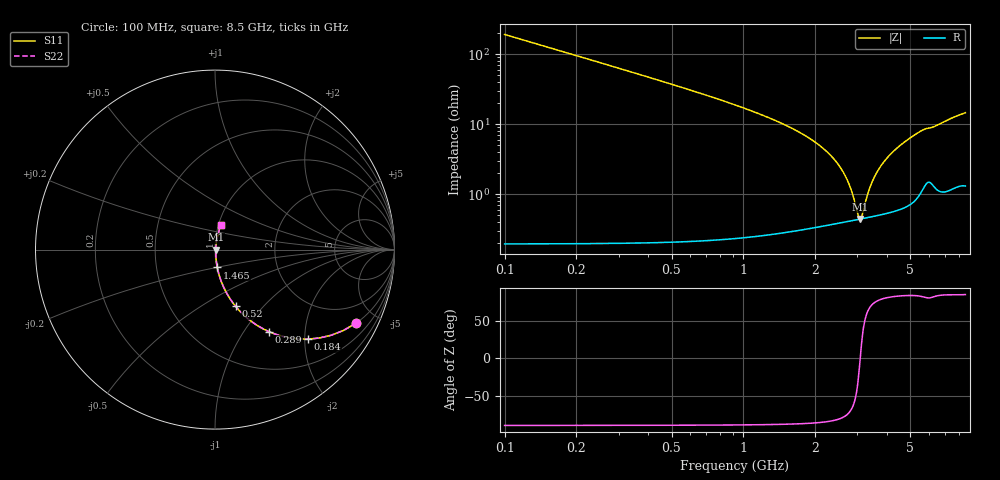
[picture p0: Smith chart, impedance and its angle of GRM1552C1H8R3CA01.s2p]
!Murata Part Number: GRM1552C1H8R3CA01
!These Parameters are Measured in Series Mode Connection
!Data Generated on Mar 30, 2021
!  o--ll--o
!Port1  Port2
!  o------o
!Operation Temp=25[degC], DC Bias Voltage=0[V]
!Freq. Start=100[MHz] Stop=9[GHz] 401[Steps]
# Hz S RI R 50
!Freq.(Hz) S11(Real) S11(Imag) S21(Real) S21(Imag) S12(Real) S12(Imag) S22(Real) S22(Imag)
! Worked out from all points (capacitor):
!   401 points, 100 MHz to 8.5 GHz, reference 50 ohm
!   read as one part in series: C = 8.3 pF near 142 MHz
!   lowest |Z| = 443 mohm at 3.082 GHz (marker M1)
!   series resonance near 3.084 GHz, so ESL is about 320 pH
!   S11 on the Smith chart (normalised r, x): 100 MHz: 1.00, -3.83; 184 MHz: 1.00, -2.08; 289 MHz: 1.00, -1.32; 520 MHz: 1.00, -0.72; 1.465 GHz: 1.01, -0.20; 8.5 GHz: 1.03, +0.29
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1e8  0.7856 -0.4099  0.2144 0.4099  0.2144 0.4099  0.7856 -0.4099
1.84e8  0.5188 -0.4987  0.4812 0.4987  0.4812 0.4987  0.5188 -0.4987
2.89e8  0.3024 -0.4578  0.6976 0.4578  0.6976 0.4578  0.3024 -0.4578
3.94e8  0.1874 -0.3881  0.8126 0.3881  0.8126 0.3881  0.1874 -0.3881
5.2e8  0.115 -0.3162  0.885 0.3162  0.885 0.3162  0.115 -0.3162
8.98e8  0.0387 -0.1871  0.9613 0.1871  0.9613 0.1871  0.0387 -0.1871
1.465e9  0.0128 -0.0994  0.9872 0.0994  0.9872 0.0994  0.0128 -0.0994
1.507e9  0.012 -0.095  0.988 0.095  0.988 0.095  0.012 -0.095
2.074e9  0.00591 -0.0499  0.9941 0.0499  0.9941 0.0499  0.00591 -0.0499
2.431e9  0.00464 -0.0294  0.9954 0.0294  0.9954 0.0294  0.00464 -0.0294
2.704e9  0.0043 -0.0162  0.9957 0.0162  0.9957 0.0162  0.0043 -0.0162
2.914e9  0.00429 -0.00695  0.9957 0.00695  0.9957 0.00695  0.00429 -0.00695
3.019e9  0.00435 -0.0026  0.9956 0.0026  0.9956 0.0026  0.00435 -0.0026
3.082e9  0.00441 -7.29e-05  0.9956 7.29e-05  0.9956 7.29e-05  0.00441 -7.29e-05
3.145e9  0.00447 0.00241  0.9955 -0.00241  0.9955 -0.00241  0.00447 0.00241
3.376e9  0.00481 0.0111  0.9952 -0.0111  0.9952 -0.0111  0.00481 0.0111
3.565e9  0.00519 0.0179  0.9948 -0.0179  0.9948 -0.0179  0.00519 0.0179
3.88e9  0.00601 0.0285  0.994 -0.0285  0.994 -0.0285  0.00601 0.0285
4.3e9  0.00744 0.0418  0.9926 -0.0418  0.9926 -0.0418  0.00744 0.0418
5.707e9  0.0191 0.0809  0.9809 -0.0809  0.9809 -0.0809  0.0191 0.0809
7.114e9  0.0232 0.1096  0.9768 -0.1096  0.9768 -0.1096  0.0232 0.1096
8.5e9  0.033 0.1391  0.967 -0.1391  0.967 -0.1391  0.033 0.1391
